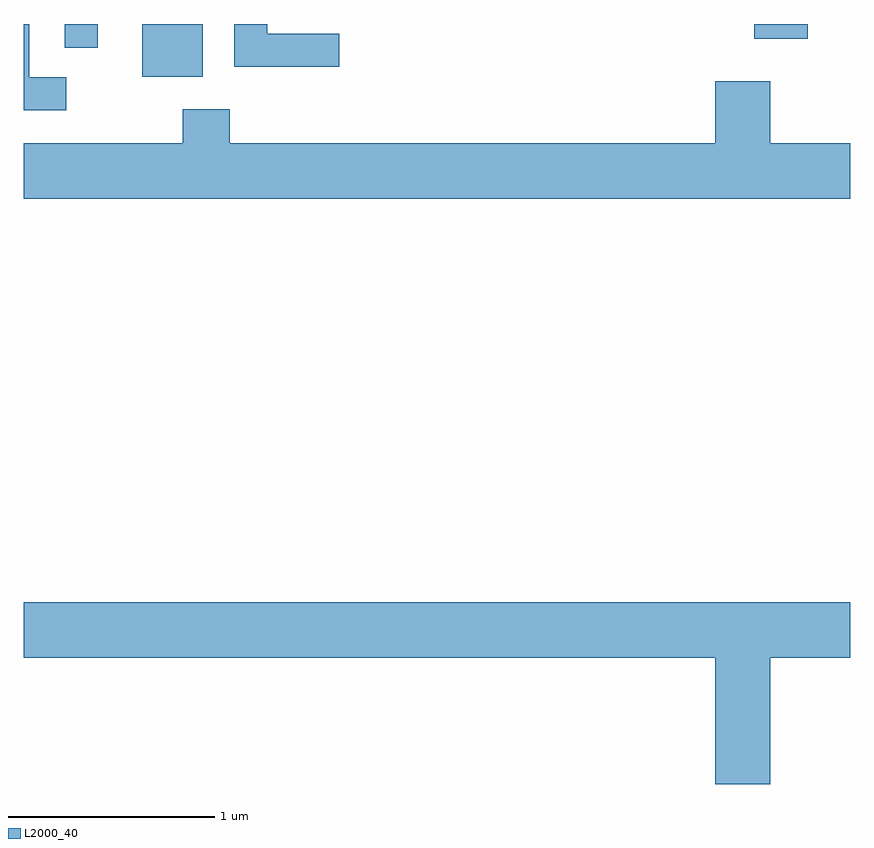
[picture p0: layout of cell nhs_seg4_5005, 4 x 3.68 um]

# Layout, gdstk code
import gdstk
lib = gdstk.Library(unit=1e-6, precision=1e-09)
def R(c, l, rs):  # rectangles x0, y0, x1, y1
    for r in rs: c.add(gdstk.rectangle(r[:2], r[2:], *l))
def P(c, l, *ps):  # polygons
    for p in ps: c.add(gdstk.Polygon(p, *l))
L2000_40 = (2000, 40)

nhs_seg4_5005 = lib.new_cell('nhs_seg4_5005')
R(nhs_seg4_5005, L2000_40, [(332.186,1339.726,332.479,1339.982), (331.811,1339.868,331.969,1339.982), (335.146,1339.911,335.404,1339.982)])
P(nhs_seg4_5005, L2000_40, [(331.818,1339.724),(331.639,1339.724),(331.639,1339.982),(331.611,1339.982),(331.611,1339.566),(331.818,1339.566)],
  [(333.138,1339.934),(332.789,1339.934),(332.789,1339.982),(332.631,1339.982),(332.631,1339.776),(333.138,1339.776)],
  [(335.611,1339.404),(335.224,1339.404),(335.224,1339.704),(334.956,1339.704),(334.956,1339.404),(332.609,1339.404),(332.609,1339.569),(332.381,1339.569),(332.381,1339.404),(331.611,1339.404),(331.611,1339.136),(335.611,1339.136)],
  [(335.224,1336.916),(335.611,1336.916),(335.611,1337.184),(331.611,1337.184),(331.611,1336.916),(334.956,1336.916),(334.956,1336.306),(335.224,1336.306)])

lib.write_gds('nhs_seg4_5005.gds')
